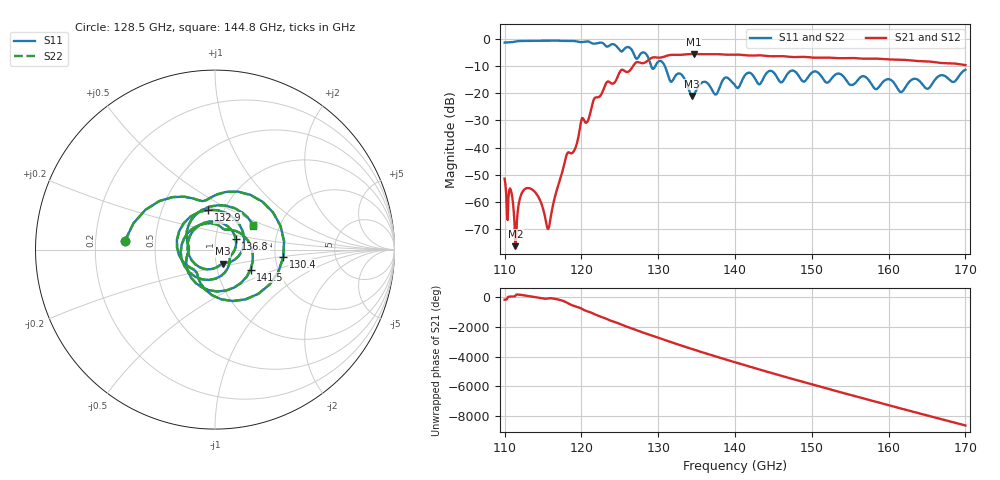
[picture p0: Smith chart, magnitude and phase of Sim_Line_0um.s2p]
! Touchstone file exported from HFSS 2020.2.4
!  File:  D:/Project/Deacon_v3/240214_MPW12_Gap_WG_Tester_D2A/Gap_WG_Tester_D2.aedt
!  Generated:  11:43:13 AM  Mar 20, 2025
!  Design:  Line
!  Project:  Gap_WG_Tester_D2
!  Setup:  Setup1
!  Solution:  Sweep
! Variables:
!  C_G = 0um
!  C_H = 0.5mm
!  Deembedding = 25.4mm
!  E_P = 133um
!  S_H1 = 260um
!  S_H2 = 13um
!  S_H3 = 8um
!  S_X = 30mm
!  S_X0 = 15mm
!  S_Y = 15mm
!  S_Y0 = 7.5mm
!  TL_G = 40um
!  TL_L = 12.1467848662796mm
!  TL_W = 240um
!  TR_L = 706.43026744077um
!  TR_L2 = 226.8691264263um
!  TR_L3 = 373.29154801399um
!  TR_P = 109.62537243288um
!  TR_W = 1597.2041747747um
!  TR_W2 = 282.226541747um
!  V_PBO = 20um
!  V_Pad = 40um
!  V_R = 20um
!  WG_L = 0.8255mm
!  WG_W = 1.651mm
!  th = 5um
!Data is not renormalized
# GHZ S MA
! Terminal data exported
! Port[1] = 1
! Port[2] = 2
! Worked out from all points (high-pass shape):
!   601 points, 110 GHz to 170 GHz, reference per port
!   highest |S21| = -5.66 dB at 134.6 GHz (marker M1); lowest = -76.2 dB at 111.4 GHz (marker M2)
!   |S21| within 3 dB of the highest: 127.2325 GHz to 127.4236 GHz (191.1 MHz wide, 0.15 % of centre); 128.4 GHz to 166 GHz (37.65 GHz wide, 25.6 % of centre)
!   lowest |S11| = -21.1 dB at 134.4 GHz (marker M3), VSWR 1.19
!   |S11| at or under -10 dB: 129.0813 GHz to 129.6361 GHz (554.8 MHz wide, 0.429 % of centre); 130.8 GHz to end of sweep
!   |S22| runs from -21.1 to -0.7 dB; largest |S21 - S12| = 1.1e-13
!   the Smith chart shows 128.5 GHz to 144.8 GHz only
!   S11 on the Smith chart (normalised r, x): 128.5 GHz: 0.33, +0.04; 130.4 GHz: 2.22, -0.21; 132.9 GHz: 0.84, +0.39; 136.8 GHz: 1.25, +0.15; 141.5 GHz: 1.45, -0.34; 144.8 GHz: 1.47, +0.42
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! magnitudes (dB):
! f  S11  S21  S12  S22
! 110 GHz  -1.5  -51.4  -51.4  -1.4
! 110.9 GHz  -1.3  -56.6  -56.6  -1.3
! 111.4 GHz  -1.1  -76.2  -76.2  -1.2
! 113.1 GHz  -0.9  -54.9  -54.9  -0.9
! 115.7 GHz  -0.7  -69.9  -69.9  -0.7
! 118 GHz  -0.9  -43.4  -43.4  -0.9
! 120 GHz  -1.3  -29.9  -29.9  -1.3
! 123.3 GHz  -2.9  -16.0  -16.0  -2.9
! 128.5 GHz  -5.9  -8.4  -8.4  -6.0
! 130 GHz  -8.5  -7.0  -7.0  -8.5
! 130.4 GHz  -8.3  -6.9  -6.9  -8.3
! 132.9 GHz  -13.0  -6.0  -6.0  -13.0
! 134.4 GHz  -21.1  -5.7  -5.7  -21.1
! 134.6 GHz  -20.8  -5.7  -5.7  -20.8
! 136.8 GHz  -17.8  -5.7  -5.7  -17.7
! 140 GHz  -17.1  -5.9  -5.9  -17.1
! 141.5 GHz  -12.9  -6.1  -6.1  -12.9
! 144.8 GHz  -12.0  -6.5  -6.5  -11.9
! 150 GHz  -12.5  -6.9  -6.9  -12.5
! 160 GHz  -14.9  -7.6  -7.6  -14.9
! 165.1 GHz  -18.4  -8.4  -8.4  -18.4
! 170 GHz  -11.4  -9.7  -9.7  -11.5
